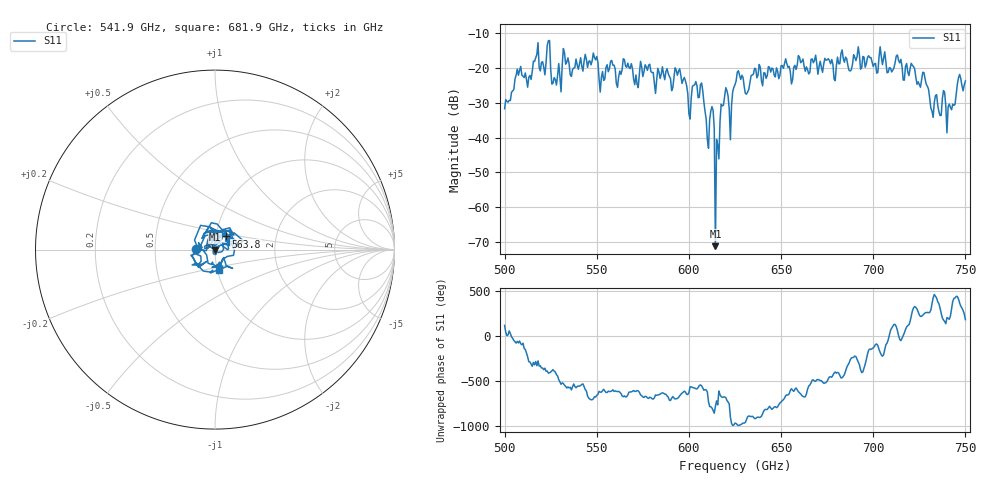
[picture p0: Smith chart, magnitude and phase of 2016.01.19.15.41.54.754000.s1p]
!Created with skrf (http://scikit-rf.org).
# GHz S RI R 50.0
!freq ReS11 ImS11
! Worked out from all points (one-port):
!   401 points, 500 GHz to 750 GHz, reference 50 ohm
!   lowest |S11| = -71.2 dB at 614.4 GHz (marker M1), VSWR 1.00, Z = 50 - j0.0248 ohm
!   |S11| at or under -10 dB: start of sweep to end of sweep
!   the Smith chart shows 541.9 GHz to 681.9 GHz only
!   S11 on the Smith chart (normalised r, x): 541.9 GHz: 0.81, +0.01; 563.8 GHz: 1.11, +0.16; 681.9 GHz: 1.01, -0.23
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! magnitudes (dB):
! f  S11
! 500 GHz  -31.7
! 516.9 GHz  -17.0
! 520.6 GHz  -18.2
! 523.8 GHz  -12.2
! 526.9 GHz  -22.8
! 531.2 GHz  -19.2
! 541.9 GHz  -19.5
! 562.5 GHz  -20.8
! 563.8 GHz  -20.5
! 571.2 GHz  -22.0
! 593.8 GHz  -22.1
! 600 GHz  -33.2
! 606.9 GHz  -24.3
! 610 GHz  -40.6
! 612.5 GHz  -31.1
! 614.4 GHz  -71.2
! 615.6 GHz  -42.1
! 616.2 GHz  -46.2
! 618.8 GHz  -30.7
! 622.5 GHz  -40.6
! 625 GHz  -24.8
! 656.2 GHz  -23.4
! 681.9 GHz  -18.7
! 687.5 GHz  -20.9
! 718.8 GHz  -21.2
! 741.2 GHz  -30.4
! 746.2 GHz  -22.8
! 750 GHz  -23.7
